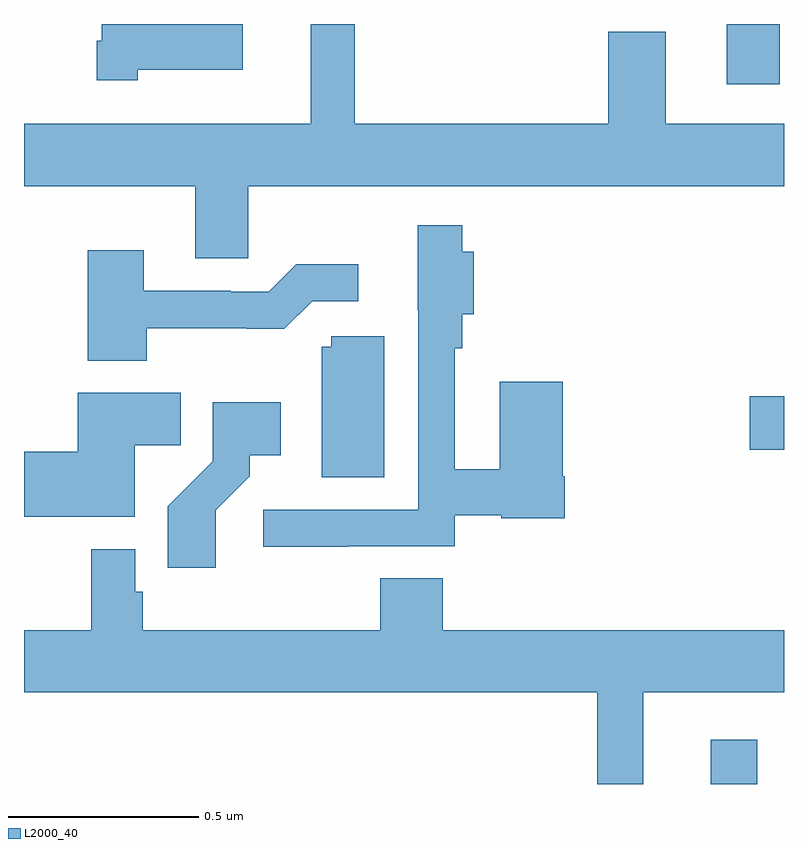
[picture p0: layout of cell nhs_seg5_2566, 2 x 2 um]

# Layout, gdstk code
import gdstk
lib = gdstk.Library(unit=1e-6, precision=1e-09)
def R(c, l, rs):  # rectangles x0, y0, x1, y1
    for r in rs: c.add(gdstk.rectangle(r[:2], r[2:], *l))
def P(c, l, *ps):  # polygons
    for p in ps: c.add(gdstk.Polygon(p, *l))
L2000_40 = (2000, 40)

nhs_seg5_2566 = lib.new_cell('nhs_seg5_2566')
R(nhs_seg5_2566, L2000_40, [(146.807,909.799,146.929,909.916), (146.91,910.678,147,910.82), (146.849,911.64,146.989,911.799)])
P(nhs_seg5_2566, L2000_40, [(145.59,911.372),(147,911.372),(147,911.536),(146.689,911.536),(146.689,911.779),(146.537,911.779),(146.537,911.536),(145.871,911.536),(145.871,911.799),(145.754,911.799),(145.754,911.536),(145,911.536),(145,911.372),(145.451,911.372),(145.451,911.182),(145.59,911.182)],
  [(145.299,911.678),(145.576,911.678),(145.576,911.799),(145.205,911.799),(145.205,911.755),(145.191,911.755),(145.191,911.651),(145.299,911.651)],
  [(145.853,910.425),(146.133,910.425),(146.133,910.506),(146.256,910.506),(146.256,910.498),(146.423,910.498),(146.423,910.609),(146.418,910.609),(146.418,910.858),(146.252,910.858),(146.252,910.627),(146.133,910.627),(146.133,910.946),(146.153,910.946),(146.153,911.035),(146.183,911.035),(146.183,911.2),(146.153,911.2),(146.153,911.269),(146.036,911.269),(146.036,911.046),(146.037,911.046),(146.037,910.521),(145.629,910.521),(145.629,910.423),(145.853,910.423)],
  [(145.323,910.998),(145.586,910.998),(145.586,910.997),(145.685,910.997),(145.758,911.07),(145.879,911.07),(145.879,911.167),(145.717,911.167),(145.644,911.094),(145.544,911.094),(145.544,911.097),(145.315,911.097),(145.315,911.203),(145.168,911.203),(145.168,910.913),(145.323,910.913)],
  [(145.948,910.977),(145.809,910.977),(145.809,910.95),(145.784,910.95),(145.784,910.606),(145.948,910.606)],
  [(145.291,910.69),(145.412,910.69),(145.412,910.828),(145.142,910.828),(145.142,910.673),(145,910.673),(145,910.502),(145.291,910.502)],
  [(145.504,910.519),(145.594,910.609),(145.594,910.664),(145.675,910.664),(145.675,910.804),(145.497,910.804),(145.497,910.649),(145.378,910.53),(145.378,910.368),(145.504,910.368)],
  [(146.629,910.04),(147,910.04),(147,910.204),(146.102,910.204),(146.102,910.34),(145.937,910.34),(145.937,910.204),(145.313,910.204),(145.313,910.305),(145.293,910.305),(145.293,910.417),(145.177,910.417),(145.177,910.204),(145,910.204),(145,910.04),(146.508,910.04),(146.508,909.799),(146.629,909.799)])

lib.write_gds('nhs_seg5_2566.gds')
